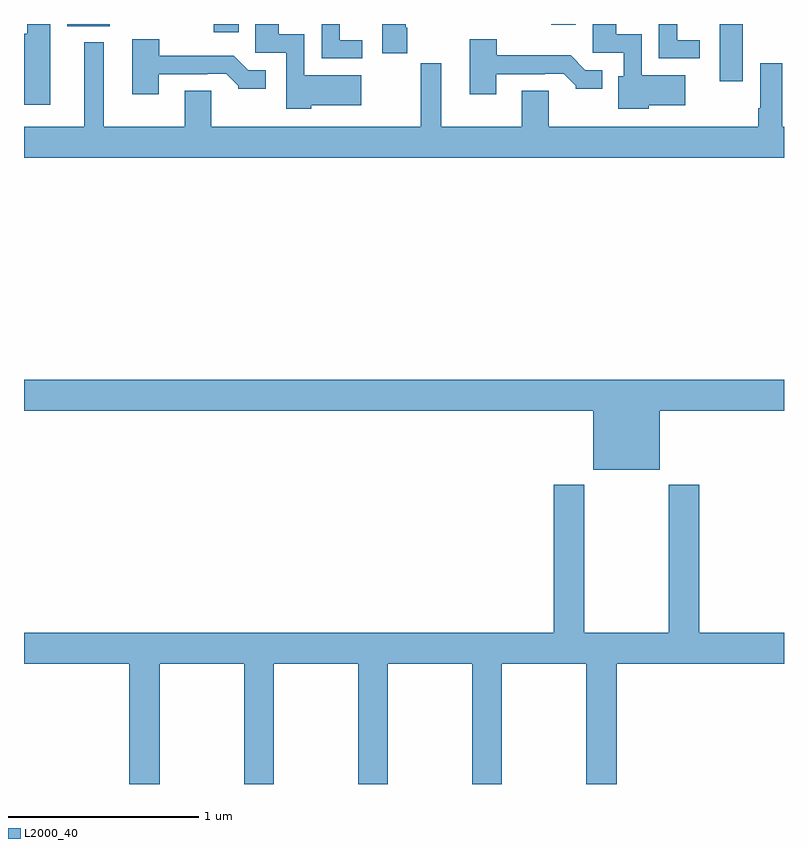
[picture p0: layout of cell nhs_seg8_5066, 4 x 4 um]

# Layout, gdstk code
import gdstk
lib = gdstk.Library(unit=1e-6, precision=1e-09)
def R(c, l, rs):  # rectangles x0, y0, x1, y1
    for r in rs: c.add(gdstk.rectangle(r[:2], r[2:], *l))
def P(c, l, *ps):  # polygons
    for p in ps: c.add(gdstk.Polygon(p, *l))
L2000_40 = (2000, 40)

nhs_seg8_5066 = lib.new_cell('nhs_seg8_5066')
R(nhs_seg8_5066, L2000_40, [(420.662,1087.599,420.784,1087.9), (417.998,1087.857,418.129,1087.9), (417.227,1087.889,417.45,1087.9), (419.774,1087.896,419.905,1087.9)])
P(nhs_seg8_5066, L2000_40, [(418.512,1087.472),(418.774,1087.472),(418.774,1087.63),(418.476,1087.63),(418.476,1087.846),(418.342,1087.846),(418.342,1087.9),(418.217,1087.9),(418.217,1087.749),(418.38,1087.749),(418.38,1087.454),(418.512,1087.454)],
  [(418.78,1087.815),(418.662,1087.815),(418.662,1087.9),(418.566,1087.9),(418.566,1087.719),(418.78,1087.719)],
  [(419.016,1087.88),(419.008,1087.88),(419.008,1087.9),(418.886,1087.9),(418.886,1087.746),(419.016,1087.746)],
  [(417.139,1087.9),(417.018,1087.9),(417.018,1087.849),(417,1087.849),(417,1087.475),(417.139,1087.475)],
  [(420.556,1087.815),(420.438,1087.815),(420.438,1087.9),(420.342,1087.9),(420.342,1087.719),(420.556,1087.719)],
  [(420.288,1087.472),(420.481,1087.472),(420.481,1087.63),(420.252,1087.63),(420.252,1087.846),(420.118,1087.846),(420.118,1087.9),(419.993,1087.9),(419.993,1087.749),(420.156,1087.749),(420.156,1087.626),(420.128,1087.626),(420.128,1087.454),(420.288,1087.454)],
  [(417.709,1087.635),(417.965,1087.635),(417.965,1087.638),(418.064,1087.638),(418.128,1087.574),(418.128,1087.559),(418.273,1087.559),(418.273,1087.656),(418.179,1087.656),(418.103,1087.732),(417.712,1087.732),(417.712,1087.819),(417.569,1087.819),(417.569,1087.53),(417.709,1087.53)],
  [(419.485,1087.635),(419.741,1087.635),(419.741,1087.638),(419.84,1087.638),(419.904,1087.574),(419.904,1087.559),(420.043,1087.559),(420.043,1087.656),(419.955,1087.656),(419.877,1087.735),(419.488,1087.735),(419.488,1087.819),(419.345,1087.819),(419.345,1087.53),(419.485,1087.53)],
  [(421,1087.36),(420.992,1087.36),(420.992,1087.693),(420.876,1087.693),(420.876,1087.456),(420.864,1087.456),(420.864,1087.36),(419.761,1087.36),(419.761,1087.55),(419.621,1087.55),(419.621,1087.36),(419.197,1087.36),(419.197,1087.693),(419.088,1087.693),(419.088,1087.36),(417.985,1087.36),(417.985,1087.55),(417.845,1087.55),(417.845,1087.36),(417.421,1087.36),(417.421,1087.804),(417.317,1087.804),(417.317,1087.36),(417,1087.36),(417,1087.196),(421,1087.196)],
  [(420.346,1085.864),(421,1085.864),(421,1086.028),(417,1086.028),(417,1085.864),(419.996,1085.864),(419.996,1085.555),(420.346,1085.555)],
  [(420.394,1085.476),(420.394,1084.696),(419.949,1084.696),(419.949,1085.476),(419.789,1085.476),(419.789,1084.696),(417,1084.696),(417,1084.532),(417.554,1084.532),(417.554,1083.9),(417.714,1083.9),(417.714,1084.532),(418.159,1084.532),(418.159,1083.9),(418.314,1083.9),(418.314,1084.532),(418.759,1084.532),(418.759,1083.9),(418.914,1083.9),(418.914,1084.532),(419.359,1084.532),(419.359,1083.9),(419.514,1083.9),(419.514,1084.532),(419.959,1084.532),(419.959,1083.9),(420.119,1083.9),(420.119,1084.532),(421,1084.532),(421,1084.696),(420.554,1084.696),(420.554,1085.476)])

lib.write_gds('nhs_seg8_5066.gds')
